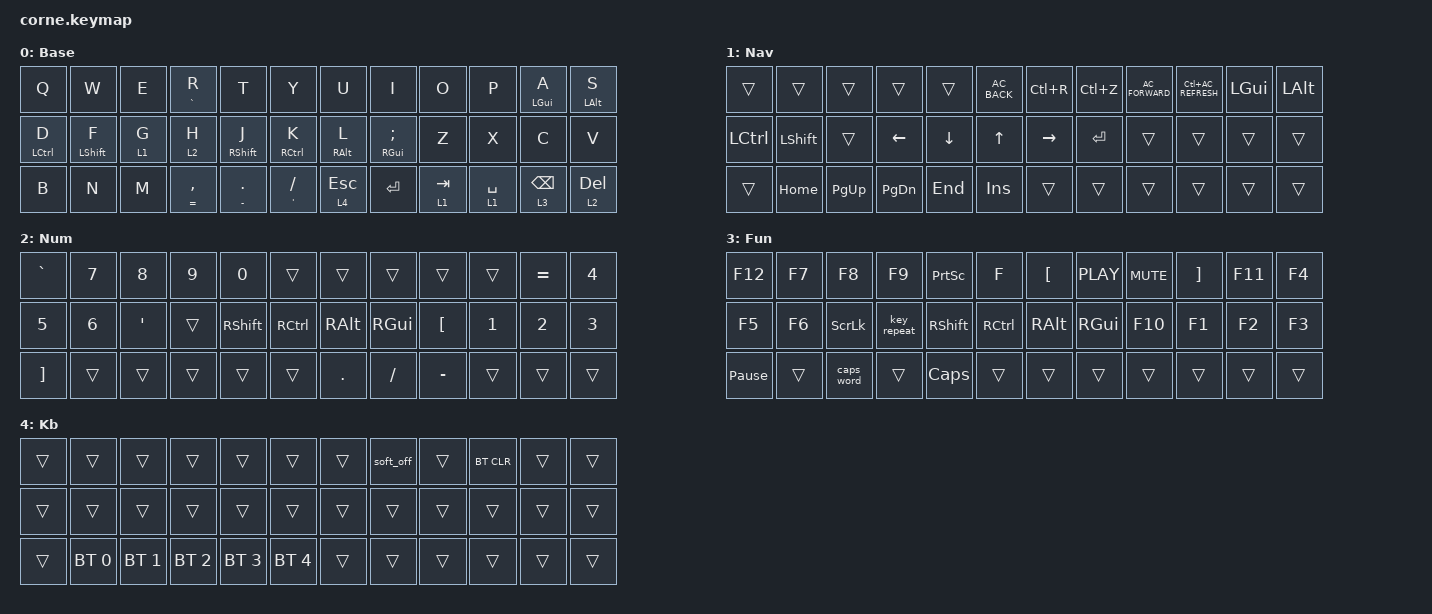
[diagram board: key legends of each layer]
/*
 * Copyright (c) 2020 The ZMK Contributors
 *
 * SPDX-License-Identifier: MIT
 */

#include <behaviors.dtsi>
#include <dt-bindings/zmk/bt.h>
#include <dt-bindings/zmk/keys.h>

//#define AS(keycode) &as LS(keycode) keycode     // Autoshift Macro

/ {
    //chosen { zmk,matrix-transform = &five_column_transform; };

    chosen { zmk,physical-layout = &foostan_corne_5col_layout; };

    behaviors {
        hml: home_row_mod_left {
            compatible = "zmk,behavior-hold-tap";
            #binding-cells = <2>;
            flavor = "balanced";
            require-prior-idle-ms = <100>;
            tapping-term-ms = <280>;
            quick-tap-ms = <175>;
            bindings = <&kp>, <&kp>;

            hold-trigger-key-positions = <5 15 25 33 34 35 26 16 6 7 17 27 28 18 8 9 19 29 32>; // List of keys on the right side of the keyboard
            hold-trigger-on-release;
        };

        hmr: home_row_mod_right {
            compatible = "zmk,behavior-hold-tap";
            #binding-cells = <2>;
            flavor = "balanced";
            require-prior-idle-ms = <100>;
            tapping-term-ms = <280>;
            quick-tap-ms = <175>;
            bindings = <&kp>, <&kp>;

            hold-trigger-key-positions = <1 0 10 11 20 21 22 30 32 31 24 23 13 12 2 3 4 14>; // List of keys on the left side of the keyboard
            hold-trigger-on-release;
        };

        as: auto_shift {
            compatible = "zmk,behavior-hold-tap";
            #binding-cells = <2>;
            quick_tap_ms = <0>;
            flavor = "tap-preferred";
            bindings = <&kp>, <&kp>;

            tapping-term-ms = <150>;
        };

        lt_slow: lt_slow {
            compatible = "zmk,behavior-hold-tap";
            label = "LT_SLOW";
            bindings = <&mo>, <&kp>;

            #binding-cells = <2>;
            tapping-term-ms = <335>;
            flavor = "tap-preferred";
        };

        mt_slow: mt_slow {
            compatible = "zmk,behavior-hold-tap";
            label = "MT_SLOW";
            bindings = <&kp>, <&kp>;

            #binding-cells = <2>;
            tapping-term-ms = <440>;
            flavor = "tap-preferred";
        };

        hml_lctl: hml_lctl {
            compatible = "zmk,behavior-hold-tap";
            #binding-cells = <2>;
            flavor = "balanced";
            require-prior-idle-ms = <100>;
            tapping-term-ms = <280>;
            quick-tap-ms = <175>;
            bindings = <&kp>, <&kp>;

            hold-trigger-key-positions = <5 15 25 33 34 35 26 16 6 7 17 27 28 18 8 9 19 29 23 1 3 21 32>;
            hold-trigger-on-release;
            label = "HML_LCTL";
        };
    };

    combos {
        compatible = "zmk,combos";

        EscQW {
            bindings = <&kp ESCAPE>;
            key-positions = <1 0>;
        };
    };

    keymap {
        compatible = "zmk,keymap";

        Base {
            bindings = <
&kp Q              &kp W              &kp E    &mt_slow GRAVE R      &kp T               &kp Y                         &kp U              &kp I                &kp O           &kp P        &hml LEFT_GUI A       &hml LEFT_ALT S
&hml_lctl LCTRL D  &hml LEFT_SHIFT F  &lt 1 G  &lt 2 H               &hmr RSHIFT J       &hmr RCTRL K                  &hmr RIGHT_ALT L   &hmr RIGHT_GUI SEMI  &kp Z           &kp X        &kp C                 &kp V
&kp B              &kp N              &kp M    &mt_slow EQUAL COMMA  &mt_slow MINUS DOT  &mt_slow SINGLE_QUOTE FSLH    &lt_slow 4 ESCAPE  &kp ENTER            &lt_slow 1 TAB  &lt 1 SPACE  &lt_slow 3 BACKSPACE  &lt_slow 2 DEL
            >;
        };

        Nav {
            bindings = <
&trans     &trans     &trans     &trans     &trans    &kp C_AC_BACK    &kp LC(R)  &kp LC(Z)  &kp C_AC_FORWARD  &kp LC(C_AC_REFRESH)  &kp LGUI  &kp LALT
&kp LCTRL  &kp LSHFT  &trans     &kp LEFT   &kp DOWN  &kp UP           &kp RIGHT  &kp RET    &trans            &trans                &trans    &trans
&trans     &kp HOME   &kp PG_UP  &kp PG_DN  &kp END   &kp INS          &trans     &trans     &trans            &trans                &trans    &trans
            >;
        };

        Num {
            bindings = <
&kp GRAVE  &kp N7  &kp N8    &kp N9  &kp N0     &trans       &trans    &trans    &trans     &trans  &kp EQUAL  &kp N4
&kp N5     &kp N6  &kp APOS  &trans  &kp RSHFT  &kp RCTRL    &kp RALT  &kp RGUI  &kp LBKT   &kp N1  &kp N2     &kp N3
&kp RBKT   &trans  &trans    &trans  &trans     &trans       &kp DOT   &kp FSLH  &kp MINUS  &trans  &trans     &trans
            >;
        };

        Fun {
            bindings = <
&kp F12          &kp F7  &kp F8          &kp F9       &kp PRINTSCREEN  &kp F        &kp LEFT_BRACKET  &kp C_PLAY  &kp C_MUTE  &kp RIGHT_BRACKET  &kp F11  &kp F4
&kp F5           &kp F6  &kp SCROLLLOCK  &key_repeat  &kp RSHFT        &kp RCTRL    &kp RALT          &kp RGUI    &kp F10     &kp F1             &kp F2   &kp F3
&kp PAUSE_BREAK  &trans  &caps_word      &trans       &kp CAPSLOCK     &trans       &trans            &trans      &trans      &trans             &trans   &trans
            >;
        };

        Kb {
            bindings = <
&trans  &trans        &trans        &trans        &trans        &trans          &trans  &soft_off  &trans  &bt BT_CLR  &trans  &trans
&trans  &trans        &trans        &trans        &trans        &trans          &trans  &trans     &trans  &trans      &trans  &trans
&trans  &bt BT_SEL 0  &bt BT_SEL 1  &bt BT_SEL 2  &bt BT_SEL 3  &bt BT_SEL 4    &trans  &trans     &trans  &trans      &trans  &trans
            >;
        };
    };
};
